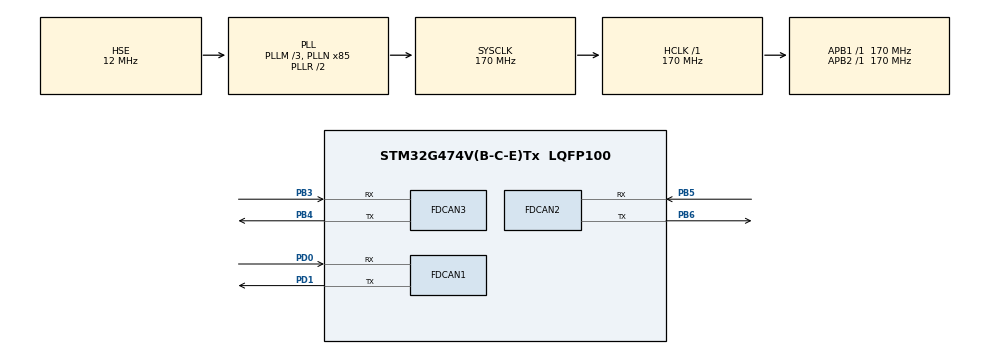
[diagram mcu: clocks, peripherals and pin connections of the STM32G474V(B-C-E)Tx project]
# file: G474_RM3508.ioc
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FDCAN1.CalculateBaudRateNominal=1000000
FDCAN1.CalculateTimeBitNominal=1000
FDCAN1.CalculateTimeQuantumNominal=100.0
FDCAN1.DataPrescaler=17
FDCAN1.DataTimeSeg1=7
FDCAN1.DataTimeSeg2=2
FDCAN1.NominalPrescaler=17
FDCAN1.NominalTimeSeg1=6
FDCAN1.NominalTimeSeg2=3
FDCAN1.StdFiltersNbr=1
FDCAN2.CalculateBaudRateNominal=1000000
FDCAN2.CalculateTimeBitNominal=1000
FDCAN2.CalculateTimeQuantumNominal=100.0
FDCAN2.DataPrescaler=17
FDCAN2.DataTimeSeg1=7
FDCAN2.DataTimeSeg2=2
FDCAN2.NominalPrescaler=17
FDCAN2.NominalTimeSeg1=6
FDCAN2.NominalTimeSeg2=3
FDCAN2.StdFiltersNbr=1
FDCAN3.CalculateBaudRateNominal=1000000
FDCAN3.CalculateTimeBitNominal=1000
FDCAN3.CalculateTimeQuantumNominal=100.0
FDCAN3.DataPrescaler=17
FDCAN3.DataTimeSeg1=7
FDCAN3.DataTimeSeg2=2
FDCAN3.NominalPrescaler=17
FDCAN3.NominalTimeSeg1=6
FDCAN3.NominalTimeSeg2=3
FDCAN3.StdFiltersNbr=1
Mcu.Family=STM32G4
Mcu.Name=STM32G474V(B-C-E)Tx
Mcu.Package=LQFP100
NVIC.FDCAN1_IT0_IRQn=true\:0\:0\:false\:false\:true\:true\:true\:true
NVIC.FDCAN2_IT0_IRQn=true\:0\:0\:false\:false\:true\:true\:true\:true
NVIC.FDCAN3_IT0_IRQn=true\:0\:0\:false\:false\:true\:true\:true\:true
NVIC.PriorityGroup=NVIC_PRIORITYGROUP_4
PA13.Mode=Serial_Wire
PA13.Signal=SYS_JTMS-SWDIO
PA14.Mode=Serial_Wire
PA14.Signal=SYS_JTCK-SWCLK
PB3.Mode=FDCAN_Activate
PB3.Signal=FDCAN3_RX
PB4.Mode=FDCAN_Activate
PB4.Signal=FDCAN3_TX
PB5.Mode=FDCAN_Activate
PB5.Signal=FDCAN2_RX
PB6.Mode=FDCAN_Activate
PB6.Signal=FDCAN2_TX
PC14-OSC32_IN.Mode=LSE-External-Oscillator
PC14-OSC32_IN.Signal=RCC_OSC32_IN
PC15-OSC32_OUT.Mode=LSE-External-Oscillator
PC15-OSC32_OUT.Signal=RCC_OSC32_OUT
PD0.Mode=FDCAN_Activate
PD0.Signal=FDCAN1_RX
PD1.Mode=FDCAN_Activate
PD1.Signal=FDCAN1_TX
PF0-OSC_IN.Mode=HSE-External-Oscillator
PF0-OSC_IN.Signal=RCC_OSC_IN
PF1-OSC_OUT.Mode=HSE-External-Oscillator
PF1-OSC_OUT.Signal=RCC_OSC_OUT
ProjectManager.HeapSize=0x200
ProjectManager.StackSize=0x400
ProjectManager.TargetToolchain=MDK-ARM V5
RCC.ADC12Freq_Value=170000000
RCC.ADC345Freq_Value=170000000
RCC.AHBFreq_Value=170000000
RCC.APB1Freq_Value=170000000
RCC.APB1TimFreq_Value=170000000
RCC.APB2Freq_Value=170000000
RCC.APB2TimFreq_Value=170000000
RCC.CortexFreq_Value=170000000
RCC.EXTERNAL_CLOCK_VALUE=12288000
RCC.HCLKFreq_Value=170000000
RCC.HSE_VALUE=12000000
RCC.HSI48_VALUE=48000000
RCC.HSI_VALUE=16000000
RCC.PLLM=RCC_PLLM_DIV3
RCC.PLLN=85
RCC.PLLSourceVirtual=RCC_PLLSOURCE_HSE
RCC.SYSCLKFreq_VALUE=170000000
RCC.SYSCLKSource=RCC_SYSCLKSOURCE_PLLCLK
RCC.USBFreq_Value=170000000
RCC.VCOOutputFreq_Value=340000000
VP_SYS_VS_DBSignals.Mode=DisableDeadBatterySignals
board=custom

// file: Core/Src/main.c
/* USER CODE BEGIN Header */
/**
  ******************************************************************************
  * @file           : main.c
  * @brief          : Main program body
  ******************************************************************************
  * @attention
  *
  * Copyright (c) 2023 STMicroelectronics.
  * All rights reserved.
  *
  * This software is licensed under terms that can be found in the LICENSE file
  * in the root directory of this software component.
  * If no LICENSE file comes with this software, it is provided AS-IS.
  *
  ******************************************************************************
  */
/* USER CODE END Header */
#include "main.h"
#include "fdcan.h"
#include "gpio.h"

/* USER CODE BEGIN Includes */
#include "FDRM3508.h"
#include "fdcan_bsp.h"
/* USER CODE END Includes */

/* USER CODE BEGIN PTD */
uint8_t id = 1;
int speed;
int set_speed1=1500;
int set_speed2=5000;
/* USER CODE END PTD */

void SystemClock_Config(void);

int main(void)
{

  /* MCU Configuration--------------------------------------------------------*/

  /* Reset of all peripherals, Initializes the Flash interface and the Systick. */
  HAL_Init();

  /* Configure the system clock */
  SystemClock_Config();

  /* Initialize all configured peripherals */
  MX_GPIO_Init();
  MX_FDCAN1_Init();
  MX_FDCAN2_Init();
  MX_FDCAN3_Init();
  /* USER CODE BEGIN 2 */
  FDCAN1_Init(&hfdcan1);
  FDCAN2_Init(&hfdcan2);
	FDCAN3_Init(&hfdcan3);
  /* USER CODE END 2 */

  /* Infinite loop */
  while (1)
  {

    /* USER CODE BEGIN 3 */
		RM3508_Set_Speed(3500,1);
		RM3508_Set_Speed(3500,2);

		speed=RM3508_Get_Speed(id);
		HAL_Delay(1);
  }
  /* USER CODE END 3 */
}

void SystemClock_Config(void)
{
  RCC_OscInitTypeDef RCC_OscInitStruct = {0};
  RCC_ClkInitTypeDef RCC_ClkInitStruct = {0};

  /** Configure the main internal regulator output voltage
  */
  HAL_PWREx_ControlVoltageScaling(PWR_REGULATOR_VOLTAGE_SCALE1_BOOST);

  /** Initializes the RCC Oscillators according to the specified parameters
  * in the RCC_OscInitTypeDef structure.
  */
  RCC_OscInitStruct.OscillatorType = RCC_OSCILLATORTYPE_HSE;
  RCC_OscInitStruct.HSEState = RCC_HSE_ON;
  RCC_OscInitStruct.PLL.PLLState = RCC_PLL_ON;
  RCC_OscInitStruct.PLL.PLLSource = RCC_PLLSOURCE_HSE;
  RCC_OscInitStruct.PLL.PLLM = RCC_PLLM_DIV3;
  RCC_OscInitStruct.PLL.PLLN = 85;
  RCC_OscInitStruct.PLL.PLLP = RCC_PLLP_DIV2;
  RCC_OscInitStruct.PLL.PLLQ = RCC_PLLQ_DIV2;
  RCC_OscInitStruct.PLL.PLLR = RCC_PLLR_DIV2;
  if (HAL_RCC_OscConfig(&RCC_OscInitStruct) != HAL_OK)
  {
    Error_Handler();
  }

  /** Initializes the CPU, AHB and APB buses clocks
  */
  RCC_ClkInitStruct.ClockType = RCC_CLOCKTYPE_HCLK|RCC_CLOCKTYPE_SYSCLK
                              |RCC_CLOCKTYPE_PCLK1|RCC_CLOCKTYPE_PCLK2;
  RCC_ClkInitStruct.SYSCLKSource = RCC_SYSCLKSOURCE_PLLCLK;
  RCC_ClkInitStruct.AHBCLKDivider = RCC_SYSCLK_DIV1;
  RCC_ClkInitStruct.APB1CLKDivider = RCC_HCLK_DIV1;
  RCC_ClkInitStruct.APB2CLKDivider = RCC_HCLK_DIV1;

  if (HAL_RCC_ClockConfig(&RCC_ClkInitStruct, FLASH_LATENCY_4) != HAL_OK)
  {
    Error_Handler();
  }
}

/* USER CODE BEGIN 4 */

void HAL_FDCAN_RxFifo0Callback(FDCAN_HandleTypeDef *hfdcan,uint32_t RxFifo0ITs)
{
	if(hfdcan->Instance == hfdcan1.Instance)
  {
		FDCAN_RxHeaderTypeDef Rxhead;
	  uint8_t Rxdata[8]={0};
	  HAL_FDCAN_GetRxMessage(hfdcan,FDCAN_RX_FIFO0,&Rxhead,Rxdata);
		if(Rxhead.Identifier >= 0x201&&Rxhead.Identifier <= 0x208)
		{
		   RM3508_Get_Feedback(Rxhead.Identifier,Rxdata);
		}
  }

	if(hfdcan->Instance == hfdcan2.Instance)
  {
		FDCAN_RxHeaderTypeDef Rxhead;
	  uint8_t Rxdata[8]={0};
	  HAL_FDCAN_GetRxMessage(hfdcan,FDCAN_RX_FIFO0,&Rxhead,Rxdata);
		if(Rxhead.Identifier >= 0x201&&Rxhead.Identifier <= 0x208)
		{
		   RM3508_Get_Feedback(Rxhead.Identifier,Rxdata);
		}
  }

	if(hfdcan->Instance == hfdcan3.Instance)
  {
		FDCAN_RxHeaderTypeDef Rxhead;
	  uint8_t Rxdata[8]={0};
	  HAL_FDCAN_GetRxMessage(hfdcan,FDCAN_RX_FIFO0,&Rxhead,Rxdata);
		if(Rxhead.Identifier >= 0x201&&Rxhead.Identifier <= 0x208)
		{
		   RM3508_Get_Feedback(Rxhead.Identifier,Rxdata);
		}
  }
}

/* USER CODE END 4 */

void Error_Handler(void)
{
  __disable_irq();
  while (1)
  {
  }
}
